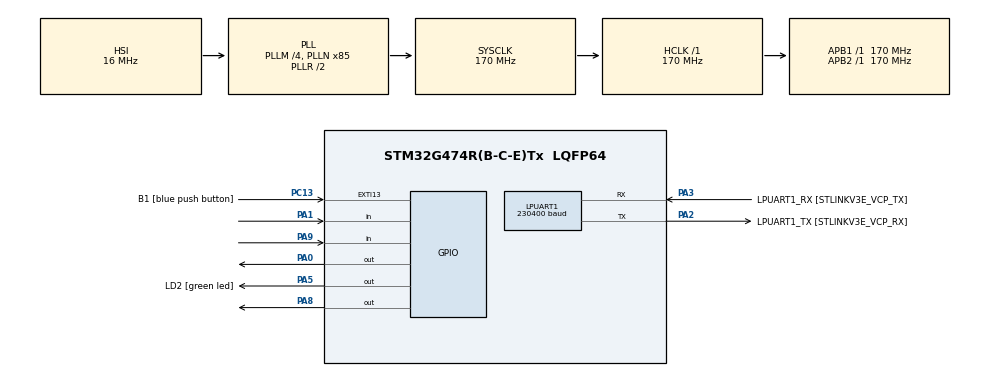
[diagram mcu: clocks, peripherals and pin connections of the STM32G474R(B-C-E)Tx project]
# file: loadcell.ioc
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LPUART1.BaudRate=230400
Mcu.Family=STM32G4
Mcu.Name=STM32G474R(B-C-E)Tx
Mcu.Package=LQFP64
NVIC.EXTI15_10_IRQn=true\:0\:0\:false\:false\:true\:true\:true\:true
NVIC.PriorityGroup=NVIC_PRIORITYGROUP_4
PA0.GPIO_Speed=GPIO_SPEED_FREQ_VERY_HIGH
PA0.Signal=GPIO_Output
PA1.Signal=GPIO_Input
PA13.GPIO_Label=T_SWDIO
PA13.Signal=SYS_JTMS-SWDIO
PA14.GPIO_Label=T_SWCLK
PA14.Signal=SYS_JTCK-SWCLK
PA2.GPIO_Label=LPUART1_TX [STLINKV3E_VCP_RX]
PA2.Mode=Asynchronous
PA2.Signal=LPUART1_TX
PA3.GPIO_Label=LPUART1_RX [STLINKV3E_VCP_TX]
PA3.Mode=Asynchronous
PA3.Signal=LPUART1_RX
PA5.GPIO_Label=LD2 [green led]
PA5.Signal=GPIO_Output
PA8.GPIO_Speed=GPIO_SPEED_FREQ_VERY_HIGH
PA8.Signal=GPIO_Output
PA9.Signal=GPIO_Input
PB3.GPIO_Label=T_SWO
PB3.Signal=SYS_JTDO-SWO
PC13.GPIO_Label=B1 [blue push button]
PC13.Signal=GPXTI13
PC14-OSC32_IN.GPIO_Label=RCC_OSC32_IN
PC14-OSC32_IN.Signal=RCC_OSC32_IN
PC15-OSC32_OUT.GPIO_Label=RCC_OSC32_OUT
PC15-OSC32_OUT.Signal=RCC_OSC32_OUT
PF0-OSC_IN.GPIO_Label=RCC_OSC_IN
PF0-OSC_IN.Signal=RCC_OSC_IN
PF1-OSC_OUT.GPIO_Label=RCC_OSC_OUT
PF1-OSC_OUT.Signal=RCC_OSC_OUT
ProjectManager.HeapSize=0x200
ProjectManager.StackSize=0x400
ProjectManager.TargetToolchain=STM32CubeIDE
RCC.ADC12Freq_Value=170000000
RCC.ADC345Freq_Value=170000000
RCC.AHBFreq_Value=170000000
RCC.APB1Freq_Value=170000000
RCC.APB1TimFreq_Value=170000000
RCC.APB2Freq_Value=170000000
RCC.APB2TimFreq_Value=170000000
RCC.CortexFreq_Value=170000000
RCC.EXTERNAL_CLOCK_VALUE=12288000
RCC.HCLKFreq_Value=170000000
RCC.HSE_VALUE=24000000
RCC.HSI48_VALUE=48000000
RCC.HSI_VALUE=16000000
RCC.LSE_VALUE=32768
RCC.PLLM=RCC_PLLM_DIV4
RCC.PLLN=85
RCC.RTCClockSelection=RCC_RTCCLKSOURCE_LSE
RCC.SYSCLKFreq_VALUE=170000000
RCC.SYSCLKSource=RCC_SYSCLKSOURCE_PLLCLK
RCC.USBFreq_Value=170000000
RCC.VCOOutputFreq_Value=340000000
VP_SYS_VS_DBSignals.Mode=DisableDeadBatterySignals
board=NUCLEO-G474RE

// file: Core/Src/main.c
/* USER CODE BEGIN Header */
/**
  ******************************************************************************
  * @file           : main.c
  * @brief          : Main program body
  ******************************************************************************
  * @attention
  *
  * Copyright (c) 2025 STMicroelectronics.
  * All rights reserved.
  *
  * This software is licensed under terms that can be found in the LICENSE file
  * in the root directory of this software component.
  * If no LICENSE file comes with this software, it is provided AS-IS.
  *
  ******************************************************************************
  */
/* USER CODE END Header */
#include "main.h"

/* USER CODE BEGIN Includes */
#include <string.h>
#include <stdio.h>
#include <stdbool.h>
#include "HX711.h"
#include <math.h>
/* USER CODE END Includes */

UART_HandleTypeDef hlpuart1;

/* USER CODE BEGIN PV */
hx711_t LOAD1, LOAD2;
float mass1,mass2;
/* USER CODE END PV */

void SystemClock_Config(void);
static void MX_GPIO_Init(void);
static void MX_LPUART1_UART_Init(void);

int main(void)
{

  /* MCU Configuration--------------------------------------------------------*/

  /* Reset of all peripherals, Initializes the Flash interface and the Systick. */
  HAL_Init();

  /* Configure the system clock */
  SystemClock_Config();

  /* Initialize all configured peripherals */
  MX_GPIO_Init();
  MX_LPUART1_UART_Init();
  /* USER CODE BEGIN 2 */
  HX711_Init   (&LOAD1, GPIOA, GPIO_PIN_0, GPIOA, GPIO_PIN_1);
   HX711_SetGain(&LOAD1, 128, 32);
   HX711_SetScale(&LOAD1, 107.0f, 0.0f);
   HX711_Tare(&LOAD1, 1, CHANNEL_A);

   HX711_Init   (&LOAD2, GPIOA, GPIO_PIN_8, GPIOA, GPIO_PIN_9);
   HX711_SetGain(&LOAD2, 128, 32);
   HX711_SetScale(&LOAD2, 100.0f, 0.0f);
   HX711_Tare(&LOAD2, 1, CHANNEL_A);
   HAL_Delay(100);

   // Debug: confirm init succeeded
   {
     char ready[] = ">> Init done, entering loop\r\n";
     HAL_UART_Transmit(&hlpuart1, (uint8_t*)ready, strlen(ready), HAL_MAX_DELAY);
   }

  /* USER CODE END 2 */

  /* Infinite loop */
  /* USER CODE BEGIN WHILE */
	float w1 = 0, w2 = 0;
	char buf[80];
  while (1)
  {
    /* USER CODE END WHILE */

    /* USER CODE BEGIN 3 */
	  if (HX711_GetUnitsNonBlocking(&LOAD1, CHANNEL_A, &w1) &&
	            HX711_GetUnitsNonBlocking(&LOAD2, CHANNEL_A, &w2))
	        {

			long c1 = lroundf(w1 * 100.0f);
			long g1 = c1 / 100;
			long frac1 = c1 % 100;

			long c2 = lroundf(w2 * 100.0f);
			long g2 = c2 / 100;
			long frac2 = c2 % 100;
			mass1 = g1;
			mass2 = g2;

			int len = snprintf(buf, sizeof(buf),
					"Load1: %ld.%02ld g, Load2: %ld.%02ld g\r\n", g1, frac1, g2,
					frac2);
	          HAL_UART_Transmit(&hlpuart1, (uint8_t*)buf, len, HAL_MAX_DELAY);
	        }

//	        HAL_Delay(100);
  }
  /* USER CODE END 3 */
}

void SystemClock_Config(void)
{
  RCC_OscInitTypeDef RCC_OscInitStruct = {0};
  RCC_ClkInitTypeDef RCC_ClkInitStruct = {0};

  /** Configure the main internal regulator output voltage
  */
  HAL_PWREx_ControlVoltageScaling(PWR_REGULATOR_VOLTAGE_SCALE1_BOOST);

  /** Initializes the RCC Oscillators according to the specified parameters
  * in the RCC_OscInitTypeDef structure.
  */
  RCC_OscInitStruct.OscillatorType = RCC_OSCILLATORTYPE_HSI;
  RCC_OscInitStruct.HSIState = RCC_HSI_ON;
  RCC_OscInitStruct.HSICalibrationValue = RCC_HSICALIBRATION_DEFAULT;
  RCC_OscInitStruct.PLL.PLLState = RCC_PLL_ON;
  RCC_OscInitStruct.PLL.PLLSource = RCC_PLLSOURCE_HSI;
  RCC_OscInitStruct.PLL.PLLM = RCC_PLLM_DIV4;
  RCC_OscInitStruct.PLL.PLLN = 85;
  RCC_OscInitStruct.PLL.PLLP = RCC_PLLP_DIV2;
  RCC_OscInitStruct.PLL.PLLQ = RCC_PLLQ_DIV2;
  RCC_OscInitStruct.PLL.PLLR = RCC_PLLR_DIV2;
  if (HAL_RCC_OscConfig(&RCC_OscInitStruct) != HAL_OK)
  {
    Error_Handler();
  }

  /** Initializes the CPU, AHB and APB buses clocks
  */
  RCC_ClkInitStruct.ClockType = RCC_CLOCKTYPE_HCLK|RCC_CLOCKTYPE_SYSCLK
                              |RCC_CLOCKTYPE_PCLK1|RCC_CLOCKTYPE_PCLK2;
  RCC_ClkInitStruct.SYSCLKSource = RCC_SYSCLKSOURCE_PLLCLK;
  RCC_ClkInitStruct.AHBCLKDivider = RCC_SYSCLK_DIV1;
  RCC_ClkInitStruct.APB1CLKDivider = RCC_HCLK_DIV1;
  RCC_ClkInitStruct.APB2CLKDivider = RCC_HCLK_DIV1;

  if (HAL_RCC_ClockConfig(&RCC_ClkInitStruct, FLASH_LATENCY_4) != HAL_OK)
  {
    Error_Handler();
  }
}

static void MX_LPUART1_UART_Init(void)
{

  hlpuart1.Instance = LPUART1;
  hlpuart1.Init.BaudRate = 230400;
  hlpuart1.Init.WordLength = UART_WORDLENGTH_8B;
  hlpuart1.Init.StopBits = UART_STOPBITS_1;
  hlpuart1.Init.Parity = UART_PARITY_NONE;
  hlpuart1.Init.Mode = UART_MODE_TX_RX;
  hlpuart1.Init.HwFlowCtl = UART_HWCONTROL_NONE;
  hlpuart1.Init.OneBitSampling = UART_ONE_BIT_SAMPLE_DISABLE;
  hlpuart1.Init.ClockPrescaler = UART_PRESCALER_DIV1;
  hlpuart1.AdvancedInit.AdvFeatureInit = UART_ADVFEATURE_NO_INIT;
  if (HAL_UART_Init(&hlpuart1) != HAL_OK)
  {
    Error_Handler();
  }
  if (HAL_UARTEx_SetTxFifoThreshold(&hlpuart1, UART_TXFIFO_THRESHOLD_1_8) != HAL_OK)
  {
    Error_Handler();
  }
  if (HAL_UARTEx_SetRxFifoThreshold(&hlpuart1, UART_RXFIFO_THRESHOLD_1_8) != HAL_OK)
  {
    Error_Handler();
  }
  if (HAL_UARTEx_DisableFifoMode(&hlpuart1) != HAL_OK)
  {
    Error_Handler();
  }

}

static void MX_GPIO_Init(void)
{
  GPIO_InitTypeDef GPIO_InitStruct = {0};

  /* GPIO Ports Clock Enable */
  __HAL_RCC_GPIOC_CLK_ENABLE();
  __HAL_RCC_GPIOF_CLK_ENABLE();
  __HAL_RCC_GPIOA_CLK_ENABLE();
  __HAL_RCC_GPIOB_CLK_ENABLE();

  /*Configure GPIO pin Output Level */
  HAL_GPIO_WritePin(GPIOA, GPIO_PIN_0|LD2_Pin|GPIO_PIN_8, GPIO_PIN_RESET);

  /*Configure GPIO pin : B1_Pin */
  GPIO_InitStruct.Pin = B1_Pin;
  GPIO_InitStruct.Mode = GPIO_MODE_IT_RISING;
  GPIO_InitStruct.Pull = GPIO_NOPULL;
  HAL_GPIO_Init(B1_GPIO_Port, &GPIO_InitStruct);

  /*Configure GPIO pins : PA0 PA8 */
  GPIO_InitStruct.Pin = GPIO_PIN_0|GPIO_PIN_8;
  GPIO_InitStruct.Mode = GPIO_MODE_OUTPUT_PP;
  GPIO_InitStruct.Pull = GPIO_NOPULL;
  GPIO_InitStruct.Speed = GPIO_SPEED_FREQ_VERY_HIGH;
  HAL_GPIO_Init(GPIOA, &GPIO_InitStruct);

  /*Configure GPIO pins : PA1 PA9 */
  GPIO_InitStruct.Pin = GPIO_PIN_1|GPIO_PIN_9;
  GPIO_InitStruct.Mode = GPIO_MODE_INPUT;
  GPIO_InitStruct.Pull = GPIO_NOPULL;
  HAL_GPIO_Init(GPIOA, &GPIO_InitStruct);

  /*Configure GPIO pin : LD2_Pin */
  GPIO_InitStruct.Pin = LD2_Pin;
  GPIO_InitStruct.Mode = GPIO_MODE_OUTPUT_PP;
  GPIO_InitStruct.Pull = GPIO_NOPULL;
  GPIO_InitStruct.Speed = GPIO_SPEED_FREQ_LOW;
  HAL_GPIO_Init(LD2_GPIO_Port, &GPIO_InitStruct);

  /* EXTI interrupt init*/
  HAL_NVIC_SetPriority(EXTI15_10_IRQn, 0, 0);
  HAL_NVIC_EnableIRQ(EXTI15_10_IRQn);

}

void Error_Handler(void)
{
  __disable_irq();
  while (1)
  {
  }
}
